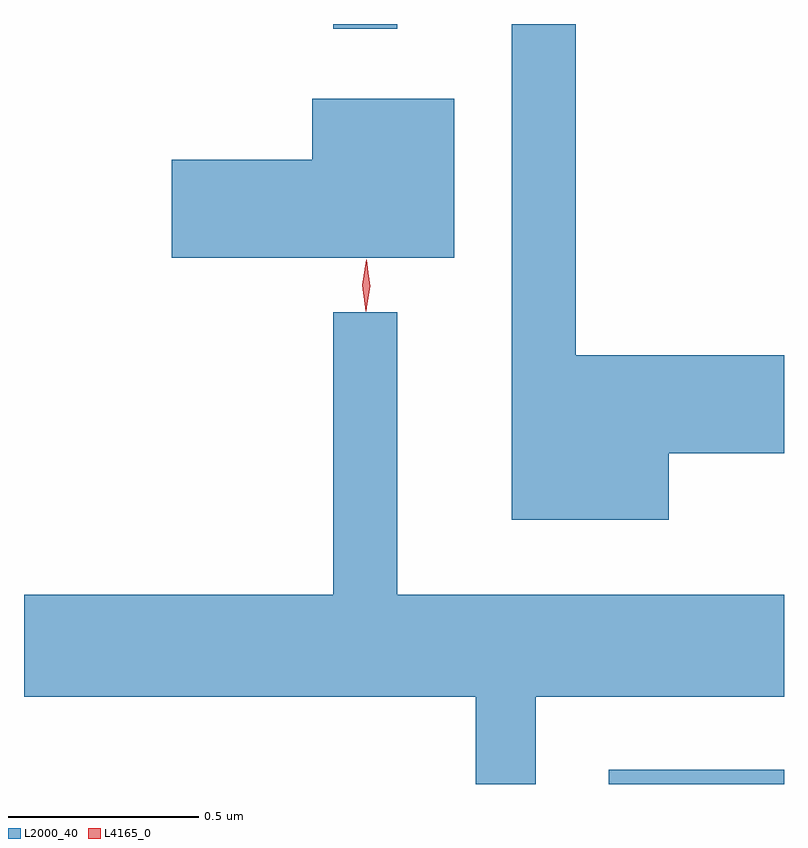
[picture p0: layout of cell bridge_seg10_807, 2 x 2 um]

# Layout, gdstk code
import gdstk
lib = gdstk.Library(unit=1e-6, precision=1e-09)
def R(c, l, rs):  # rectangles x0, y0, x1, y1
    for r in rs: c.add(gdstk.rectangle(r[:2], r[2:], *l))
def P(c, l, *ps):  # polygons
    for p in ps: c.add(gdstk.Polygon(p, *l))
L2000_40 = (2000, 40)
L4165_0 = (4165, 0)

bridge_seg10_807 = lib.new_cell('bridge_seg10_807')
R(bridge_seg10_807, L2000_40, [(546.116,2175.846,546.577,2175.884), (545.391,2177.833,545.559,2177.846)])
P(bridge_seg10_807, L2000_40, [(546.274,2176.716),(546.577,2176.716),(546.577,2176.974),(546.029,2176.974),(546.029,2177.846),(545.861,2177.846),(545.861,2176.541),(546.274,2176.541)],
  [(545.709,2177.649),(545.336,2177.649),(545.336,2177.489),(544.966,2177.489),(544.966,2177.231),(545.709,2177.231)],
  [(545.924,2176.076),(546.577,2176.076),(546.577,2176.344),(545.559,2176.344),(545.559,2177.088),(545.391,2177.088),(545.391,2176.344),(544.577,2176.344),(544.577,2176.076),(545.766,2176.076),(545.766,2175.846),(545.924,2175.846)])
P(bridge_seg10_807, L4165_0, [(545.476,2177.09),(545.467,2177.158),(545.478,2177.225),(545.478,2177.226),(545.479,2177.225),(545.487,2177.158),(545.477,2177.09),(545.477,2177.09)],
  [(545.476,2177.093),(545.468,2177.156),(545.478,2177.219),(545.479,2177.22),(545.479,2177.219),(545.488,2177.156),(545.477,2177.093),(545.477,2177.093)])

lib.write_gds('bridge_seg10_807.gds')
